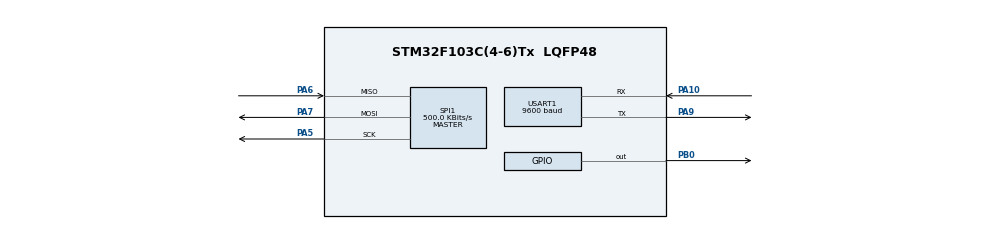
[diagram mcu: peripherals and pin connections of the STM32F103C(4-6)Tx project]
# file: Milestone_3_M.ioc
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Mcu.Family=STM32F1
Mcu.Name=STM32F103C(4-6)Tx
Mcu.Package=LQFP48
NVIC.PriorityGroup=NVIC_PRIORITYGROUP_4
PA10.Mode=Asynchronous
PA10.Signal=USART1_RX
PA5.Mode=Full_Duplex_Master
PA5.Signal=SPI1_SCK
PA6.Mode=Full_Duplex_Master
PA6.Signal=SPI1_MISO
PA7.Mode=Full_Duplex_Master
PA7.Signal=SPI1_MOSI
PA9.Mode=Asynchronous
PA9.Signal=USART1_TX
PB0.PinState=GPIO_PIN_SET
PB0.Signal=GPIO_Output
ProjectManager.HeapSize=0x200
ProjectManager.StackSize=0x400
ProjectManager.TargetToolchain=STM32CubeIDE
RCC.APB1Freq_Value=8000000
RCC.APB2Freq_Value=8000000
SPI1.BaudRatePrescaler=SPI_BAUDRATEPRESCALER_16
SPI1.CalculateBaudRate=500.0 KBits/s
SPI1.Direction=SPI_DIRECTION_2LINES
SPI1.Mode=SPI_MODE_MASTER
SPI1.VirtualType=VM_MASTER
USART1.BaudRate=9600
USART1.VirtualMode=VM_ASYNC
VP_SYS_VS_ND.Mode=No_Debug
board=custom

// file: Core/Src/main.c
/* USER CODE BEGIN Header */
/**
  ******************************************************************************
  * @file           : main.c
  * @brief          : Main program body
  ******************************************************************************
  * @attention
  *
  * Copyright (c) 2026 STMicroelectronics.
  * All rights reserved.
  *
  * This software is licensed under terms that can be found in the LICENSE file
  * in the root directory of this software component.
  * If no LICENSE file comes with this software, it is provided AS-IS.
  *
  ******************************************************************************
  */
/* USER CODE END Header */
#include "main.h"

/* USER CODE BEGIN Includes */
#include <stdio.h>
/* USER CODE END Includes */

SPI_HandleTypeDef hspi1;

UART_HandleTypeDef huart1;

/* USER CODE BEGIN PV */
uint8_t uart_input;

uint8_t spi_tx[3];
uint8_t spi_rx[3];
uint8_t dummy_tx[3] = {0, 0, 0};

uint8_t voltage;
uint16_t wheel_speed;

char message[80];
int message_length;
/* USER CODE END PV */

void SystemClock_Config(void);
static void MX_GPIO_Init(void);
static void MX_SPI1_Init(void);
static void MX_USART1_UART_Init(void);

/* USER CODE BEGIN 0 */
void SPI_Transfer(uint8_t *tx_data, uint8_t *rx_data)
{
    HAL_GPIO_WritePin(GPIOB, GPIO_PIN_0, GPIO_PIN_RESET);

    HAL_SPI_TransmitReceive(
        &hspi1,
        tx_data,
        rx_data,
        3,
        HAL_MAX_DELAY
    );

    HAL_GPIO_WritePin(GPIOB, GPIO_PIN_0, GPIO_PIN_SET);
}
/* USER CODE END 0 */

int main(void)
{

  /* MCU Configuration--------------------------------------------------------*/

  /* Reset of all peripherals, Initializes the Flash interface and the Systick. */
  HAL_Init();

  /* Configure the system clock */
  SystemClock_Config();

  /* Initialize all configured peripherals */
  MX_GPIO_Init();
  MX_SPI1_Init();
  MX_USART1_UART_Init();
  /* USER CODE BEGIN 2 */
  HAL_GPIO_WritePin(GPIOB, GPIO_PIN_0, GPIO_PIN_SET);
  HAL_UART_Transmit(
      &huart1,
      (uint8_t *)"Master ready\r\n",
      14,
      HAL_MAX_DELAY
  );
  /* USER CODE END 2 */

  /* Infinite loop */
  while (1)
  {

    /* USER CODE BEGIN 3 */
	  HAL_UART_Receive(
	      &huart1,
	      &uart_input,
	      1,
	      HAL_MAX_DELAY
	  );

	  if (uart_input >= '1' && uart_input <= '5')
	  {
	      spi_tx[0] = uart_input - '0';
	      spi_tx[1] = 0;
	      spi_tx[2] = 0;

	         SPI_Transfer(spi_tx, spi_rx);

	      HAL_Delay(10);

	      SPI_Transfer(dummy_tx, spi_rx);

	      voltage = spi_rx[0];
	      wheel_speed = ((uint16_t)spi_rx[1] << 8) | spi_rx[2];

	      message_length = sprintf(
	          message,
	          "Case %c: Voltage = %u V | Wheel Speed = %u RPM\r\n",
	          uart_input,
	          voltage,
	          wheel_speed
	      );

	      HAL_UART_Transmit(
	          &huart1,
	          (uint8_t *)message,
	          message_length,
	          HAL_MAX_DELAY
	      );
	  }
  }
  /* USER CODE END 3 */
}

void SystemClock_Config(void)
{
  RCC_OscInitTypeDef RCC_OscInitStruct = {0};
  RCC_ClkInitTypeDef RCC_ClkInitStruct = {0};

  /** Initializes the RCC Oscillators according to the specified parameters
  * in the RCC_OscInitTypeDef structure.
  */
  RCC_OscInitStruct.OscillatorType = RCC_OSCILLATORTYPE_HSI;
  RCC_OscInitStruct.HSIState = RCC_HSI_ON;
  RCC_OscInitStruct.HSICalibrationValue = RCC_HSICALIBRATION_DEFAULT;
  RCC_OscInitStruct.PLL.PLLState = RCC_PLL_NONE;
  if (HAL_RCC_OscConfig(&RCC_OscInitStruct) != HAL_OK)
  {
    Error_Handler();
  }

  /** Initializes the CPU, AHB and APB buses clocks
  */
  RCC_ClkInitStruct.ClockType = RCC_CLOCKTYPE_HCLK|RCC_CLOCKTYPE_SYSCLK
                              |RCC_CLOCKTYPE_PCLK1|RCC_CLOCKTYPE_PCLK2;
  RCC_ClkInitStruct.SYSCLKSource = RCC_SYSCLKSOURCE_HSI;
  RCC_ClkInitStruct.AHBCLKDivider = RCC_SYSCLK_DIV1;
  RCC_ClkInitStruct.APB1CLKDivider = RCC_HCLK_DIV1;
  RCC_ClkInitStruct.APB2CLKDivider = RCC_HCLK_DIV1;

  if (HAL_RCC_ClockConfig(&RCC_ClkInitStruct, FLASH_LATENCY_0) != HAL_OK)
  {
    Error_Handler();
  }
}

static void MX_SPI1_Init(void)
{

  /* SPI1 parameter configuration*/
  hspi1.Instance = SPI1;
  hspi1.Init.Mode = SPI_MODE_MASTER;
  hspi1.Init.Direction = SPI_DIRECTION_2LINES;
  hspi1.Init.DataSize = SPI_DATASIZE_8BIT;
  hspi1.Init.CLKPolarity = SPI_POLARITY_LOW;
  hspi1.Init.CLKPhase = SPI_PHASE_1EDGE;
  hspi1.Init.NSS = SPI_NSS_SOFT;
  hspi1.Init.BaudRatePrescaler = SPI_BAUDRATEPRESCALER_16;
  hspi1.Init.FirstBit = SPI_FIRSTBIT_MSB;
  hspi1.Init.TIMode = SPI_TIMODE_DISABLE;
  hspi1.Init.CRCCalculation = SPI_CRCCALCULATION_DISABLE;
  hspi1.Init.CRCPolynomial = 10;
  if (HAL_SPI_Init(&hspi1) != HAL_OK)
  {
    Error_Handler();
  }

}

static void MX_USART1_UART_Init(void)
{

  huart1.Instance = USART1;
  huart1.Init.BaudRate = 9600;
  huart1.Init.WordLength = UART_WORDLENGTH_8B;
  huart1.Init.StopBits = UART_STOPBITS_1;
  huart1.Init.Parity = UART_PARITY_NONE;
  huart1.Init.Mode = UART_MODE_TX_RX;
  huart1.Init.HwFlowCtl = UART_HWCONTROL_NONE;
  huart1.Init.OverSampling = UART_OVERSAMPLING_16;
  if (HAL_UART_Init(&huart1) != HAL_OK)
  {
    Error_Handler();
  }

}

static void MX_GPIO_Init(void)
{
  GPIO_InitTypeDef GPIO_InitStruct = {0};

  /* GPIO Ports Clock Enable */
  __HAL_RCC_GPIOA_CLK_ENABLE();
  __HAL_RCC_GPIOB_CLK_ENABLE();

  /*Configure GPIO pin Output Level */
  HAL_GPIO_WritePin(GPIOB, GPIO_PIN_0, GPIO_PIN_SET);

  /*Configure GPIO pin : PB0 */
  GPIO_InitStruct.Pin = GPIO_PIN_0;
  GPIO_InitStruct.Mode = GPIO_MODE_OUTPUT_PP;
  GPIO_InitStruct.Pull = GPIO_NOPULL;
  GPIO_InitStruct.Speed = GPIO_SPEED_FREQ_LOW;
  HAL_GPIO_Init(GPIOB, &GPIO_InitStruct);

}

void Error_Handler(void)
{
  __disable_irq();
  while (1)
  {
  }
}
